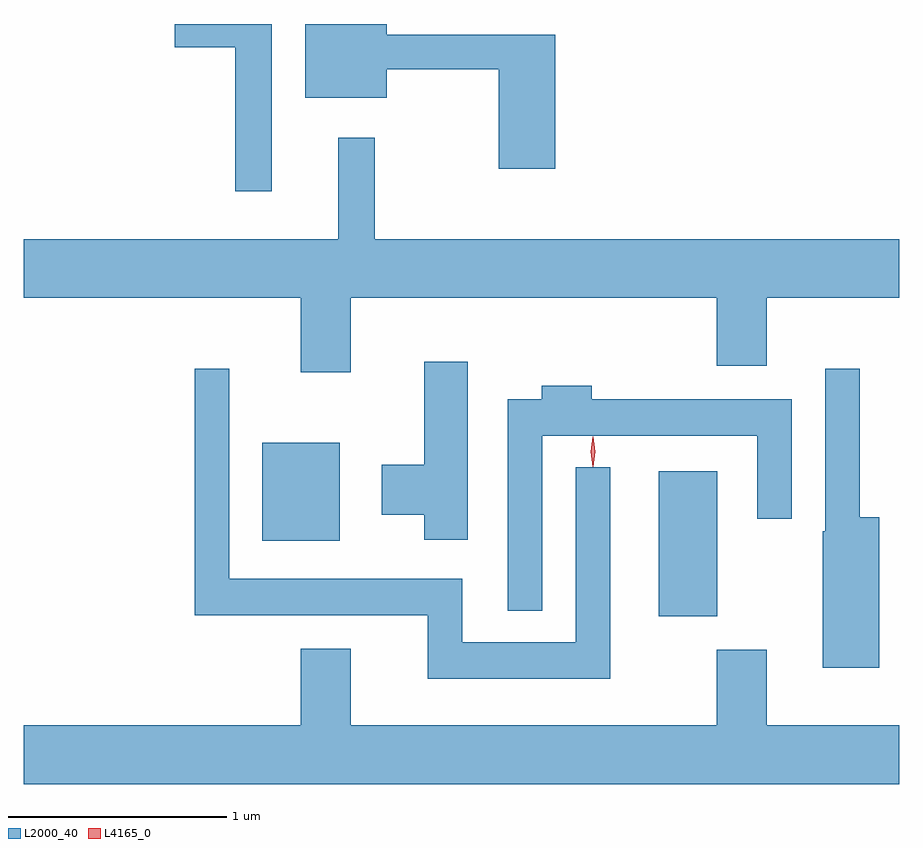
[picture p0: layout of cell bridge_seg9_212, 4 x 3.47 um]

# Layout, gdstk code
import gdstk
lib = gdstk.Library(unit=1e-6, precision=1e-09)
def R(c, l, rs):  # rectangles x0, y0, x1, y1
    for r in rs: c.add(gdstk.rectangle(r[:2], r[2:], *l))
def P(c, l, *ps):  # polygons
    for p in ps: c.add(gdstk.Polygon(p, *l))
L2000_40 = (2000, 40)
L4165_0 = (4165, 0)

bridge_seg9_212 = lib.new_cell('bridge_seg9_212')
R(bridge_seg9_212, L2000_40, [(1488.426,1968.161,1488.694,1968.824), (1486.616,1968.506,1486.969,1968.954)])
P(bridge_seg9_212, L2000_40, [(1487.954,1970.819),(1487.184,1970.819),(1487.184,1970.867),(1486.811,1970.867),(1486.811,1970.531),(1487.184,1970.531),(1487.184,1970.661),(1487.696,1970.661),(1487.696,1970.206),(1487.954,1970.206)],
  [(1486.659,1970.867),(1486.216,1970.867),(1486.216,1970.761),(1486.491,1970.761),(1486.491,1970.103),(1486.659,1970.103)],
  [(1486.961,1970.348),(1486.961,1969.884),(1485.525,1969.884),(1485.525,1969.616),(1486.791,1969.616),(1486.791,1969.276),(1487.019,1969.276),(1487.019,1969.616),(1488.691,1969.616),(1488.691,1969.306),(1488.919,1969.306),(1488.919,1969.616),(1489.525,1969.616),(1489.525,1969.884),(1487.129,1969.884),(1487.129,1970.348)],
  [(1487.554,1969.324),(1487.356,1969.324),(1487.356,1968.854),(1487.161,1968.854),(1487.161,1968.626),(1487.356,1968.626),(1487.356,1968.511),(1487.554,1968.511)],
  [(1488.204,1968.843),(1488.046,1968.843),(1488.046,1968.044),(1487.529,1968.044),(1487.529,1968.334),(1486.464,1968.334),(1486.464,1969.293),(1486.306,1969.293),(1486.306,1968.166),(1487.371,1968.166),(1487.371,1967.876),(1488.204,1967.876)],
  [(1489.434,1968.614),(1489.344,1968.614),(1489.344,1969.293),(1489.186,1969.293),(1489.186,1968.55),(1489.176,1968.55),(1489.176,1967.926),(1489.434,1967.926)],
  [(1487.894,1968.986),(1488.876,1968.986),(1488.876,1968.608),(1489.034,1968.608),(1489.034,1969.154),(1488.119,1969.154),(1488.119,1969.214),(1487.891,1969.214),(1487.891,1969.154),(1487.736,1969.154),(1487.736,1968.188),(1487.894,1968.188)],
  [(1489.525,1967.664),(1488.919,1967.664),(1488.919,1968.009),(1488.691,1968.009),(1488.691,1967.664),(1487.019,1967.664),(1487.019,1968.014),(1486.791,1968.014),(1486.791,1967.664),(1485.525,1967.664),(1485.525,1967.396),(1489.525,1967.396)])
P(bridge_seg9_212, L4165_0, [(1488.124,1968.844),(1488.115,1968.914),(1488.124,1968.983),(1488.125,1968.983),(1488.126,1968.983),(1488.135,1968.914),(1488.126,1968.844),(1488.125,1968.844)],
  [(1488.124,1968.847),(1488.115,1968.914),(1488.124,1968.98),(1488.125,1968.981),(1488.126,1968.98),(1488.135,1968.914),(1488.126,1968.847),(1488.125,1968.847)])

lib.write_gds('bridge_seg9_212.gds')
